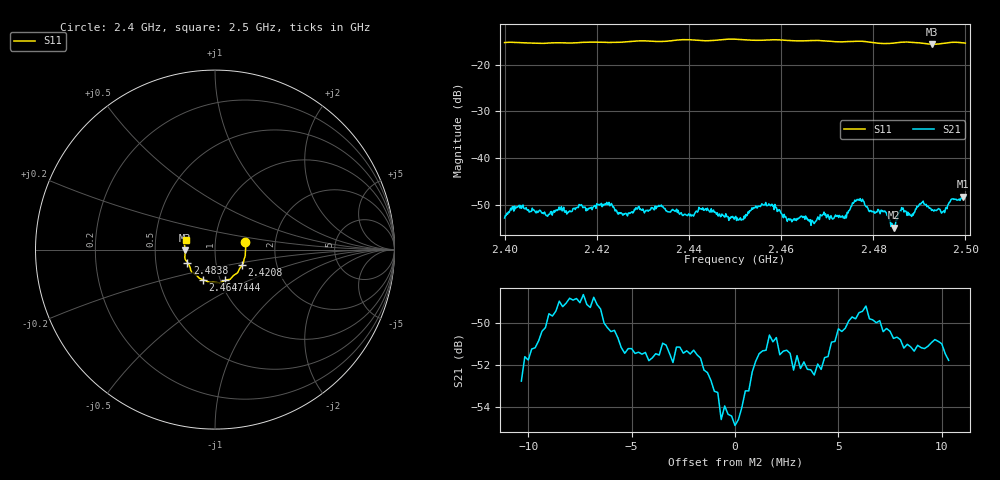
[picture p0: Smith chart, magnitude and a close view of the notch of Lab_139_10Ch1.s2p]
# Hz S RI R 50
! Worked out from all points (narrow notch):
!   601 points, 2.4 GHz to 2.5 GHz, reference 50 ohm
!   highest |S21| = -48.26 dB at 2.4995 GHz (marker M1); lowest = -54.9 dB at 2.4845 GHz (marker M2)
!   notch at M2: 3.6 dB deep, 1.75 MHz wide at half that depth
!   lowest |S11| = -15.6 dB at 2.4928 GHz (marker M3), VSWR 1.40, Z = 35.8 - j0.341 ohm
!   |S11| at or under -10 dB: start of sweep to end of sweep
!   S12 and S22 are empty: the file has one direction only
!   S11 on the Smith chart (normalised r, x): 2.4 GHz: 1.40, +0.12; 2.4208 GHz: 1.33, -0.24; 2.444 GHz: 1.06, -0.37; 2.4647 GHz: 0.83, -0.29; 2.4838 GHz: 0.73, -0.11; 2.5 GHz: 0.72, +0.08
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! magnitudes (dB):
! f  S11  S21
! 2.4 GHz  -15.3  -52.8
! 2.4027 GHz  -15.2  -50.4
! 2.4093 GHz  -15.4  -52.5
! 2.4167 GHz  -15.2  -50.0
! 2.4208 GHz  -15.2  -49.9
! 2.4262 GHz  -15.1  -51.9
! 2.4333 GHz  -15.0  -50.3
! 2.444 GHz  -14.9  -50.7
! 2.45 GHz  -14.5  -52.7
! 2.4562 GHz  -14.8  -50.0
! 2.4618 GHz  -14.8  -53.3
! 2.4647 GHz  -14.9  -52.7
! 2.4667 GHz  -14.8  -53.3
! 2.4737 GHz  -15.1  -52.6
! 2.4768 GHz  -15.0  -48.9
! 2.4833 GHz  -15.5  -52.7
! 2.4838 GHz  -15.4  -54.6
! 2.4845 GHz  -15.4  -54.9
! 2.486 GHz  -15.2  -51.3
! 2.4928 GHz  -15.6  -51.0
! 2.4995 GHz  -15.3  -48.3
! 2.5 GHz  -15.4  -48.3
